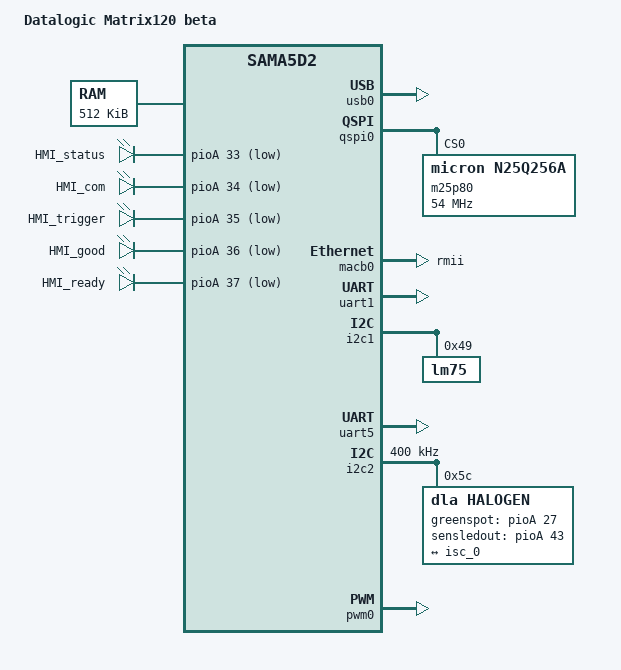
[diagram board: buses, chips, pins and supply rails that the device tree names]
/*
 * at91-sama5d2_xplained.dts - Device Tree file for SAMA5D2 Xplained board
 *
 *  Copyright (C) 2015 Atmel,
 *                2015 Nicolas Ferre <nicolas.ferre@atmel.com>
 *
 * This file is dual-licensed: you can use it either under the terms
 * of the GPL or the X11 license, at your option. Note that this dual
 * licensing only applies to this file, and not this project as a
 * whole.
 *
 *  a) This file is free software; you can redistribute it and/or
 *     modify it under the terms of the GNU General Public License as
 *     published by the Free Software Foundation; either version 2 of the
 *     License, or (at your option) any later version.
 *
 *     This file is distributed in the hope that it will be useful,
 *     but WITHOUT ANY WARRANTY; without even the implied warranty of
 *     MERCHANTABILITY or FITNESS FOR A PARTICULAR PURPOSE.  See the
 *     GNU General Public License for more details.
 *
 * Or, alternatively,
 *
 *  b) Permission is hereby granted, free of charge, to any person
 *     obtaining a copy of this software and associated documentation
 *     files (the "Software"), to deal in the Software without
 *     restriction, including without limitation the rights to use,
 *     copy, modify, merge, publish, distribute, sublicense, and/or
 *     sell copies of the Software, and to permit persons to whom the
 *     Software is furnished to do so, subject to the following
 *     conditions:
 *
 *     The above copyright notice and this permission notice shall be
 *     included in all copies or substantial portions of the Software.
 *
 *     THE SOFTWARE IS PROVIDED "AS IS", WITHOUT WARRANTY OF ANY KIND,
 *     EXPRESS OR IMPLIED, INCLUDING BUT NOT LIMITED TO THE WARRANTIES
 *     OF MERCHANTABILITY, FITNESS FOR A PARTICULAR PURPOSE AND
 *     NONINFRINGEMENT. IN NO EVENT SHALL THE AUTHORS OR COPYRIGHT
 *     HOLDERS BE LIABLE FOR ANY CLAIM, DAMAGES OR OTHER LIABILITY,
 *     WHETHER IN AN ACTION OF CONTRACT, TORT OR OTHERWISE, ARISING
 *     FROM, OUT OF OR IN CONNECTION WITH THE SOFTWARE OR THE USE OR
 *     OTHER DEALINGS IN THE SOFTWARE.
 */
/dts-v1/;
#include "sama5d2.dtsi"
#include "sama5d2-pinfunc.h"
#include <dt-bindings/mfd/atmel-flexcom.h>
#include <dt-bindings/gpio/gpio.h>
#include <dt-bindings/pwm/pwm.h>

/ {
	model = "Datalogic Matrix120 beta";
	compatible = "datalogic,matrix120-beta", "atmel,sama5d2", "atmel,sama5";

	chosen {
		stdout-path = "serial0:115200n8";
	};

	memory {
		reg = <0x20000000 0x80000>;
	};

	clocks {
		#address-cells = <1>;
		#size-cells = <1>;
		ranges;

		main_clock: clock@0 {
			compatible = "atmel,osc", "fixed-clock";
			clock-frequency = <12000000>;
		};

		slow_xtal {
			clock-frequency = <32768>;
		};

		main_xtal {
			clock-frequency = <12000000>;
		};
	};

	ahb {

		usb0: gadget@00300000 {
			status = "okay";
		};

		apb {

			/* FLASH QSPI */
			qspi0: qspi@f0020000 {
				pinctrl-names = "default";
				pinctrl-0 = <&pinctrl_qspi0_default>;
				status = "okay";

				/* m25 driver autimatically recognize different pn and cuts of FLASH inside m25 family */
				m25p80@0 {
					compatible = "micron,n25q256a", "macronix,mx25l25635f";
					reg = <0>;
					spi-max-frequency = <54000000>;
					m25p,num-dummy-cycles = <10>;
				};
			};

			/* Camera sensor interface - Removed data lines 9-12 as not mapped in our system */
			isc: isc@f0008000 {
				pinctrl-names = "default";
				pinctrl-0 = <&pinctrl_isc_base &pinctrl_isc_data_8bit>;
				status = "okay";
				port {
					isc_0: endpoint@0 {
						remote-endpoint = <&halogen_0>;
						bus-width = <8>;
						vsync-active = <0>;
					};
				};

			};

			/* Ethernet MAC controller - Keep on even if not connected to Ethernet PHY */
			macb0: ethernet@f8008000 {
				pinctrl-names = "default";
				pinctrl-0 = <&pinctrl_macb0_rmii>;
				phy-mode = "rmii";
				status = "okay";
			};

			/* Debug serial port (tts0) */
			uart1: serial@f8020000 {
				pinctrl-names = "default";
				pinctrl-0 = <&pinctrl_uart1_default>;
				status = "okay";
			};

			shdwc@f8048010 {
				atmel,shdwc-debouncer = <976>;

				input@0 {
					reg = <0>;
					atmel,wakeup-type = "low";
				};
			};

			watchdog@f8048040 {
				status = "okay";
			};

			/* to pmic i2c */
			i2c1: i2c@fc028000 {
				dmas = <0>, <0>;
				pinctrl-names = "default";
				pinctrl-0 = <&pinctrl_i2c1_default>;
				status = "okay";

				lm75: lm75@49 {
					compatible = "lm75";
					reg = <0x49>;
				};
			};
						
			/* main uart rs232, rs485 */
			flx4: flexcom@fc018000 {
				atmel,flexcom-mode = <ATMEL_FLEXCOM_MODE_USART>;
				status = "okay";

				uart5: serial@fc018200 {
					compatible = "atmel,at91sam9260-usart";
					reg = <0x200 0x200>;
					interrupts = <23 IRQ_TYPE_LEVEL_HIGH 7>;
					clocks = <&flx4_clk>;
					clock-names = "usart";
					/* atmel_uart driver have been patched to apply rs485 pinctrl on entering rs485 mode and restoring default on exit */
					pinctrl-names = "default","rs485";
					pinctrl-0 = <&pinctrl_flx4_rs232 &pinctrl_max3160_rs232>;
					pinctrl-1 = <&pinctrl_flx4_rs485 &pinctrl_max3160_rs485_full_duplex>;
					atmel,fifo-size = <32>;
					status = "okay";
				};
			};

			pmc: pmc@f0014000 {
				pmc_fast_restart {
					compatible = "atmel,sama5d2-pmc-fast-startup";
					atmel,fast-startup-wake-up;
					atmel,fast-startup-rtc-alarm;
				};
			};

			/* Halogen I2C bus */
			flx1: flexcom@f8038000 {
				atmel,flexcom-mode = <ATMEL_FLEXCOM_MODE_TWI>;
				status = "okay";

				i2c2: i2c@f8038600 {
					compatible = "atmel,sama5d2-i2c";
					clock-frequency = <400000>;
					reg = <0x600 0x200>;
					interrupts = <20 IRQ_TYPE_LEVEL_HIGH 7>;
					dmas = <0>, <0>;
					dma-names = "tx", "rx";
					#address-cells = <1>;
					#size-cells = <0>;
					clocks = <&flx1_clk>;
					pinctrl-names = "default";
					pinctrl-0 = <&pinctrl_flx1_default>;
					atmel,fifo-size = <16>;
					status = "okay";
					
	                                halogen: camera@0x5c {
	                                        compatible = "dla,halogen";
	                                        reg = <0x5c>;
	                                        pinctrl-names = "default";
						pinctrl-0 = <&pinctrl_halogen_default>;
						/*// This is PA5
						pwdn-gpios = <&pioA 5 GPIO_ACTIVE_HIGH>;*/
						// This is PA27
						greenspot-gpios = <&pioA 27 GPIO_ACTIVE_HIGH>;
						// This is PB11 (32+11=43)
						sensledout-gpios = <&pioA 43 GPIO_ACTIVE_HIGH>;

	                                        port {
	                                                halogen_0: endpoint {
	                                                        remote-endpoint = <&isc_0>;
	                                                        bus-width = <8>;
	                                                };
	                                        };
	                                };
				};
			};

			/* Beeper (PA30 PWM) */
			pwm0: pwm@f802c000 {
				compatible = "atmel,sama5d3-pwm";
				reg = <0xf802c000 0x300>;
				interrupts = <28 IRQ_TYPE_LEVEL_HIGH 4>;
				#pwm-cells = <3>;
				clocks = <&pwm_clk>;
				status = "okay";

				pinctrl-names = "default", "enabled";
				pinctrl-0 = <&pinctrl_pwm0_pwmh0_disabled>;
				pinctrl-1 = <&pinctrl_pwm0_pwmh0_enabled>;

				// early initialization of pwm 0
				// it is important to set the inverted polarity asap to avoid abosrbing extra current
				// atmel_pwm driver have been patched to handle pwms nodes.
				pwms = <&pwm0 0 5000000 PWM_POLARITY_INVERTED>;
			};
                        
			pinctrl@fc038000 {
				pinctrl-names = "default";
				pinctrl-0 = <&pinctrl_key_gpio_default>;
              
				pinctrl_flx4_rs485: flx4_rs485 {
        		                rs485_on {
	                                        pinmux = <PIN_PD21__FLEXCOM4_IO0>,
                                                	 <PIN_PD22__FLEXCOM4_IO1>,
	                                                 <PIN_PD24__FLEXCOM4_IO3>,
	                                                 <PIN_PD25__FLEXCOM4_IO4>;
	                                        bias-disable;
		                        };
		
		                        rs232_off {
        	                                pinmux = <PIN_PC28__GPIO>,
	                                                 <PIN_PC29__GPIO>,
                	                                 <PIN_PC31__GPIO>,
                        	                         <PIN_PD0__GPIO>;
                                	         bias-disable;
		                        };
				};

                                pinctrl_flx4_rs232: flx4_rs242 {
                                        rs485_off {
	                                        pinmux = <PIN_PD21__GPIO>,
	                                                 <PIN_PD22__GPIO>,
	                                                 <PIN_PD24__GPIO>,
	                                                 <PIN_PD25__GPIO>;
                                	         bias-disable;
                                        };

                                        rs232_on {
                                                pinmux = <PIN_PC28__FLEXCOM4_IO0>,
                                                         <PIN_PC29__FLEXCOM4_IO1>,
                                                         <PIN_PC31__FLEXCOM4_IO3>,
                                                         <PIN_PD0__FLEXCOM4_IO4>;
                                                 bias-disable;
                                        };
                                };

                                pinctrl_max3160_rs232: max3160_rs232 {
					power {
	                                        pinmux = <PIN_PA31__GPIO>;
	                                        output-high;
					};

					intsel0_f {
						pinmux = <PIN_PA28__GPIO>;
						output-low;
					};

                                        intsel1_f {
						pinmux = <PIN_PA29__GPIO>;
						output-low;
                                        };
				};

                                pinctrl_max3160_rs485_half_duplex: max3160_rs485_half_duplex {
                                        power {
                                                pinmux = <PIN_PA31__GPIO>;
                                                output-high;
                                        };

                                        intsel0_f {
                                                pinmux = <PIN_PA28__GPIO>;
                                                output-high;
                                        };

                                        intsel1_f {
                                                pinmux = <PIN_PA29__GPIO>;
                                                output-high;
                                        };
                                };

                                pinctrl_max3160_rs485_full_duplex: max3160_rs485_full_duplex {
                                        power {
                                                pinmux = <PIN_PA31__GPIO>;
                                                output-high;
                                        };

                                        intsel0_f {
                                                pinmux = <PIN_PA28__GPIO>;
                                                output-low;
                                        };

                                        intsel1_f {
                                                pinmux = <PIN_PA29__GPIO>;
                                                output-high;
                                        };
                                };

				pinctrl_i2c1_default: i2c1_default {
					pinmux = <PIN_PD4__TWD1>,
						 <PIN_PD5__TWCK1>;
					bias-disable;
				};

				pinctrl_isc_base: isc_base {
					pinmux = <PIN_PC4__ISC_PCK>,
						 <PIN_PC5__ISC_VSYNC>,
						 <PIN_PC6__ISC_HSYNC>;
					bias-disable;
				};

				pinctrl_isc_data_8bit: isc_data_8bit {
					pinmux = <PIN_PB25__ISC_D11>,
						 <PIN_PB24__ISC_D10>,
						 <PIN_PC3__ISC_D9>,
						 <PIN_PC2__ISC_D8>,
						 <PIN_PC1__ISC_D7>,
						 <PIN_PC0__ISC_D6>,
						 <PIN_PB31__ISC_D5>,
						 <PIN_PB30__ISC_D4>;
					bias-disable;
				};

				pinctrl_key_gpio_default: key_gpio_default {
					pinmux = <PIN_PC8__GPIO>,
						 <PIN_PA0__GPIO>,
                                                 <PIN_PA1__GPIO>,
                                                 <PIN_PA2__GPIO>,
                                                 <PIN_PA3__GPIO>,
                                                 <PIN_PA4__GPIO>,
                                                 <PIN_PA6__GPIO>,
                                                 <PIN_PA7__GPIO>,
                                                 <PIN_PA8__GPIO>,
                                                 <PIN_PA9__GPIO>,
                                                 <PIN_PA10__GPIO>,
                                                 <PIN_PA11__GPIO>,
                                                 <PIN_PA12__GPIO>,
                                                 <PIN_PA13__GPIO>;
					bias-pull-up;
				};

				pinctrl_led_gpio_default: led_gpio_default {
					pinmux = <PIN_PB1__GPIO>,
						<PIN_PB2__GPIO>,
						<PIN_PB3__GPIO>,
						<PIN_PB4__GPIO>,
						<PIN_PB5__GPIO>;
					// Respect to prototype, LEDs must be driven open-drain to avoid a VCC-VDD3V3 conflict
					drive-open-drain = <1>;
				};

				// Keep pwm line 0 (PA30) as GPIO to ensure no-one uses it before polarity has been set
				pinctrl_pwm0_pwmh0_disabled: pwm0_pwmh0_disabled {
					pinmux = <PIN_PA30__GPIO>;
					bias-disable;
				}; 

				// Set pwm line 0 (PA30) as pwm line
				pinctrl_pwm0_pwmh0_enabled: pwm0_pwmh0_enabled {
					pinmux = <PIN_PA30__PWMH0>;
					bias-disable;
				}; 

				pinctrl_macb0_rmii: macb0_rmii {
					pinmux = <PIN_PB14__GTXCK>,
						 <PIN_PB15__GTXEN>,
						 <PIN_PB16__GRXDV>,
						 <PIN_PB17__GRXER>,
						 <PIN_PB18__GRX0>,
						 <PIN_PB19__GRX1>,
						 <PIN_PB20__GTX0>,
						 <PIN_PB21__GTX1>,
						 <PIN_PB22__GMDC>,
						 <PIN_PB23__GMDIO>;
					bias-disable;
				};

				pinctrl_qspi0_default: qspi0_default {
					pinmux = <PIN_PA14__QSPI0_SCK>,
						 <PIN_PA15__QSPI0_CS>,
						 <PIN_PA16__QSPI0_IO0>,
						 <PIN_PA17__QSPI0_IO1>,
						 <PIN_PA18__QSPI0_IO2>,
						 <PIN_PA19__QSPI0_IO3>;
					bias-disable;
				};

				pinctrl_spi0_default: spi0_default {
					pinmux = <PIN_PA14__SPI0_SPCK>,
						 <PIN_PA15__SPI0_MOSI>,
						 <PIN_PA16__SPI0_MISO>,
						 <PIN_PA17__SPI0_NPCS0>;
					bias-disable;
				};

				pinctrl_uart1_default: uart1_default {
					pinmux = <PIN_PD2__URXD1>,
						 <PIN_PD3__UTXD1>;
					bias-disable;
				};

				pinctrl_flx1_default: flx1_default {

					i2c {
						pinmux = <PIN_PA23__FLEXCOM1_IO1>,
							 <PIN_PA24__FLEXCOM1_IO0>;
						bias-disable;
					};

					halogen_power {
						pinmux = <PIN_PA5__GPIO>;
						output-low;
					};
				};

				pinctrl_halogen_default: flx1_halogen {
					green_spot {
						pinmux = <PIN_PA27__GPIO>;
						output-low;
                                        };

					sens_ledout  {
						pinmux = <PIN_PB11__GPIO>;
						bias-disable;
                                        };
				};
			};
		};
	};

	leds {
		compatible = "gpio-leds";
		pinctrl-names = "default";
		pinctrl-0 = <&pinctrl_led_gpio_default>;
		status = "okay";

		// Respect to prototype, LEDs must be driven with negative logic
		HMI_status {
			label = "HMI_status";
			gpios = <&pioA 33 GPIO_ACTIVE_LOW>;
		};

		HMI_com {
			label = "HMI_com";
			gpios = <&pioA 34 GPIO_ACTIVE_LOW>;
		};

		HMI_trigger {
			label = "HMI_trigger";
			gpios = <&pioA 35 GPIO_ACTIVE_LOW>;
		};
		
		HMI_good {
			label = "HMI_good";
			gpios = <&pioA 36 GPIO_ACTIVE_LOW>;
		};

		HMI_ready {
			label = "HMI_ready";
			gpios = <&pioA 37 GPIO_ACTIVE_LOW>;
		};
	};
};

